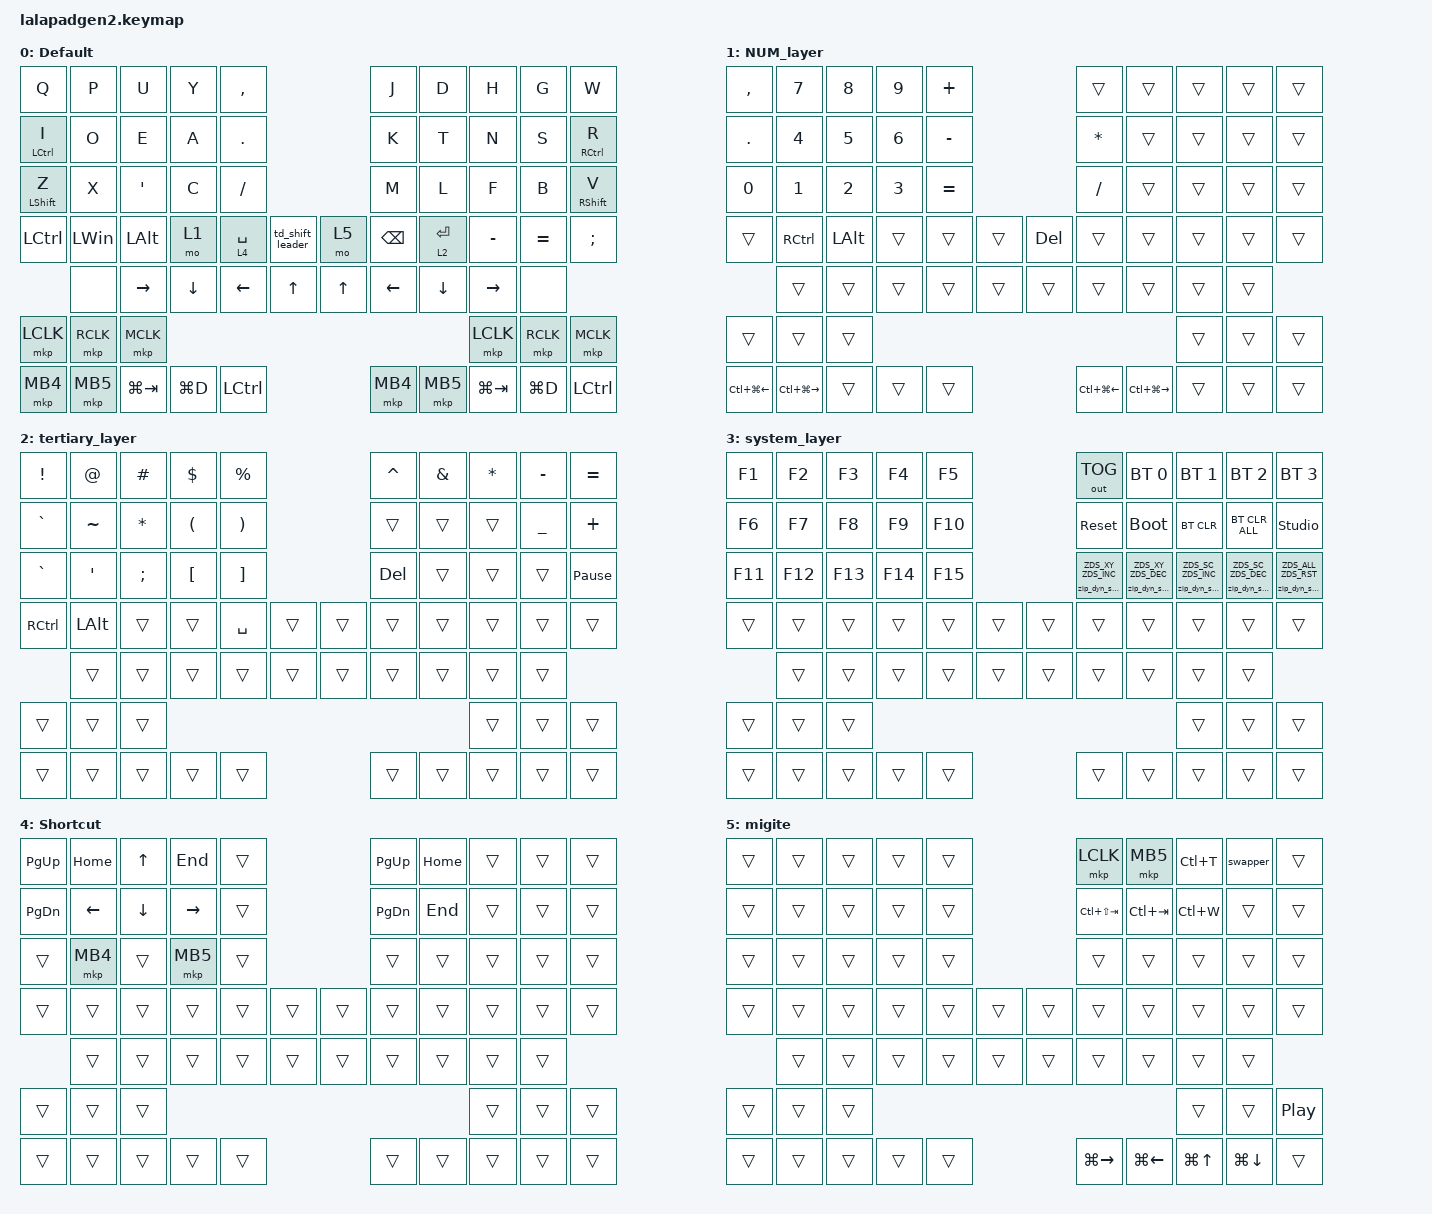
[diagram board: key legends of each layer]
#include <input/processors.dtsi>
#include <dt-bindings/zmk/zip_dynamic_scale.h>
#include <behaviors.dtsi>
#include <dt-bindings/zmk/bt.h>
#include <dt-bindings/zmk/keys.h>
#include <dt-bindings/zmk/outputs.h>
#include <dt-bindings/zmk/pointing.h>

#define DEFAULT_LAYER   0
#define SECONDARY_LAYER 1
#define TERTIARY_LAYER  2
#define SYSTEM_LAYER    3

&mt { quick-tap-ms = <200>; };

&lt { quick-tap-ms = <200>; };

/ {
    behaviors {
        zip_dyn_scale: zip_dyn_scale {
            compatible = "zmk,behavior-zip-dynamic-scale";
            #binding-cells = <2>;
        };

        zip_dyn_scale_set: zip_dyn_scale_set {
            compatible = "zmk,behavior-zip-dynamic-scale-set";
            #binding-cells = <2>;
        };

        mt2: mod_tap2 {
            compatible = "zmk,behavior-hold-tap";
            #binding-cells = <2>;
            flavor = "tap-preferred";
            tapping-term-ms = <200>;
            quick-tap-ms = <200>;
            require-prior-idle-ms = <125>;
            bindings = <&kp>, <&kp>;
        };

        tap_dance_layer_1and2: tap_dance_layer_1and2 {
            compatible = "zmk,behavior-tap-dance";
            label = "td_mo12";
            #binding-cells = <0>;
            bindings = <&mo 1>, <&mo 2>;
        };

        swapper: swapper {
            compatible = "zmk,behavior-smart-toggle";
            #binding-cells = <0>;
            bindings = <&kp LALT>, <&kp TAB>;

            ignored-key-positions = <7>, <8>;
        };

        al_num: auto_layer_num {
            compatible = "zmk,behavior-auto-layer";
            #binding-cells = <1>;
            continue-list = <
                COMMA N7 N8 N9  PLUS F7 F8 F9 F12
                PERIOD N4   N5   N6   MINUS  ASTERISK  F4  F5  F6  F11
                N0  N1   N2   N3   EQUAL  SLASH  F1  F2   F3   F10
                DEL  RCTRL   LEFT_ALT  SPACE  LSHIFT
            >;
        };

        leader1: leader1 {
            compatible = "zmk,behavior-leader-key";
            #binding-cells = <0>;

            num {
                sequence = <N U M>;
                bindings = <&al_num 1>;
            };

            gmail {
                sequence = <G M A I L>;
                bindings = <&mail1>;
            };
        };

        td_shift_leader: td_shift_leader {
            compatible = "zmk,behavior-tap-dance";
            #binding-cells = <0>;
            bindings = <&kp LSHIFT>, <&leader1>;

            tapping-term-ms = <200>;
        };
    };

    combos {
        compatible = "zmk,combos";

        CONBO_ESC {
            bindings = <&kp ESCAPE>;
            key-positions = <0 1>;
        };

        COMBO_TAB {
            bindings = <&kp TAB>;
            key-positions = <10 11>;
        };

        NN {
            bindings = <&NN>;
            key-positions = <17 7>;
        };

        ls+tab {
            bindings = <&kp LS(TAB)>;
            key-positions = <8 7>;
            layers = <5>;
        };

        copy {
            bindings = <&kp LC(C)>;
            key-positions = <13 23>;
        };

        paste {
            bindings = <&kp LC(V)>;
            key-positions = <14 24>;
        };

        lang1_abc {
            bindings = <&kp LANG1>;
            key-positions = <13 12>;
        };

        lang2_kana {
            bindings = <&kp LANG2>;
            key-positions = <17 16>;
        };

        ya {
            bindings = <&ya>;
            key-positions = <13 3>;
        };

        zi {
            bindings = <&zi>;
            key-positions = <20 10>;
        };
    };

    macros {
        NN: NN {
            compatible = "zmk,behavior-macro";
            #binding-cells = <0>;
            bindings = <&kp N &kp N>;
            label = "NN";
        };

        mail1: mail1 {
            compatible = "zmk,behavior-macro";
            #binding-cells = <0>;
            bindings = <&kp AT &kp G &kp M &kp A &kp I &kp L &kp DOT &kp C &kp O &kp M>;
            label = "mail1";
        };

        ya: ya {
            compatible = "zmk,behavior-macro";
            #binding-cells = <0>;
            bindings = <&kp Y &kp A>;
            label = "YA";
        };

        zi: zi {
            compatible = "zmk,behavior-macro";
            #binding-cells = <0>;
            bindings = <&kp Z &kp I>;
            label = "ZI";
        };
    };

    keymap {
        compatible = "zmk,keymap";

        DEFAULT_LAYER {
            display-name = "Default";
            bindings = <
&kp Q                &kp P      &kp U         &kp Y      &kp COMMA                              &kp J     &kp D        &kp H        &kp G      &kp W
&mt2 LEFT_CONTROL I  &kp O      &kp E         &kp A      &kp PERIOD                             &kp K     &kp T        &kp N        &kp S      &mt2 RIGHT_CONTROL R
&mt2 LEFT_SHIFT Z    &kp X      &kp SQT       &kp C      &kp SLASH                              &kp M     &kp L        &kp F        &kp B      &mt2 RSHIFT V
&kp LCTRL            &kp LWIN   &kp LEFT_ALT  &mo 1      &lt 4 SPACE  &td_shift_leader  &mo 5   &kp BSPC  &lt 2 ENTER  &kp MINUS    &kp EQUAL  &kp SEMI
                     &none      &kp RIGHT     &kp DOWN   &kp LEFT     &kp UP            &kp UP  &kp LEFT  &kp DOWN     &kp RIGHT    &none
&mkp LCLK            &mkp RCLK  &mkp MCLK                                                                              &mkp LCLK    &mkp RCLK  &mkp MCLK
&mkp MB4             &mkp MB5   &kp LG(TAB)   &kp LG(D)  &kp LCTRL                              &mkp MB4  &mkp MB5     &kp LG(TAB)  &kp LG(D)  &kp LCTRL
            >;
        };

        NUM_LAYER {
            display-name = "NUM_layer";
            bindings = <
&kp COMMA         &kp N7             &kp N8        &kp N9  &kp PLUS                    &trans            &trans             &trans  &trans  &trans
&kp PERIOD        &kp N4             &kp N5        &kp N6  &kp MINUS                   &kp ASTERISK      &trans             &trans  &trans  &trans
&kp N0            &kp N1             &kp N2        &kp N3  &kp EQUAL                   &kp SLASH         &trans             &trans  &trans  &trans
&trans            &kp RCTRL          &kp LEFT_ALT  &trans  &trans     &trans  &kp DEL  &trans            &trans             &trans  &trans  &trans
                  &trans             &trans        &trans  &trans     &trans  &trans   &trans            &trans             &trans  &trans
&trans            &trans             &trans                                                                                 &trans  &trans  &trans
&kp LC(LG(LEFT))  &kp LC(LG(RIGHT))  &trans        &trans  &trans                      &kp LC(LG(LEFT))  &kp LC(LG(RIGHT))  &trans  &trans  &trans
            >;
        };

        TERTIARY_LAYER {
            display-name = "tertiary_layer";
            bindings = <
&kp EXCLAMATION  &kp AT_SIGN   &kp HASH      &kp DOLLAR            &kp PERCENT                            &kp CARET   &kp AMPERSAND  &kp ASTERISK  &kp MINUS       &kp EQUAL
&kp GRAVE        &kp TILDE     &kp ASTERISK  &kp LEFT_PARENTHESIS  &kp RIGHT_PARENTHESIS                  &trans      &trans         &trans        &kp UNDERSCORE  &kp PLUS
&kp GRAVE        &kp SQT       &kp SEMI      &kp LEFT_BRACKET      &kp RIGHT_BRACKET                      &kp DELETE  &trans         &trans        &trans          &kp PAUSE_BREAK
&kp RCTRL        &kp LEFT_ALT  &trans        &trans                &kp SPACE              &trans  &trans  &trans      &trans         &trans        &trans          &trans
                 &trans        &trans        &trans                &trans                 &trans  &trans  &trans      &trans         &trans        &trans
&trans           &trans        &trans                                                                                                &trans        &trans          &trans
&trans           &trans        &trans        &trans                &trans                                 &trans      &trans         &trans        &trans          &trans
            >;
        };

        SYSTEM_LAYER {
            display-name = "system_layer";
            bindings = <
&kp F1   &kp F2   &kp F3   &kp F4   &kp F5                   &out OUT_TOG                   &bt BT_SEL 0                   &bt BT_SEL 1                   &bt BT_SEL 2                   &bt BT_SEL 3
&kp F6   &kp F7   &kp F8   &kp F9   &kp F10                  &sys_reset                     &bootloader                    &bt BT_CLR                     &bt BT_CLR_ALL                 &studio_unlock
&kp F11  &kp F12  &kp F13  &kp F14  &kp F15                  &zip_dyn_scale ZDS_XY ZDS_INC  &zip_dyn_scale ZDS_XY ZDS_DEC  &zip_dyn_scale ZDS_SC ZDS_INC  &zip_dyn_scale ZDS_SC ZDS_DEC  &zip_dyn_scale ZDS_ALL ZDS_RST
&trans   &trans   &trans   &trans   &trans   &trans  &trans  &trans                         &trans                         &trans                         &trans                         &trans
         &trans   &trans   &trans   &trans   &trans  &trans  &trans                         &trans                         &trans                         &trans
&trans   &trans   &trans                                                                                                   &trans                         &trans                         &trans
&trans   &trans   &trans   &trans   &trans                   &trans                         &trans                         &trans                         &trans                         &trans
            >;
        };

        Shortcut {
            bindings = <
&kp PG_UP  &kp HOME        &kp UP_ARROW    &kp END          &trans                  &kp PG_UP  &kp HOME  &trans  &trans  &trans
&kp PG_DN  &kp LEFT_ARROW  &kp DOWN_ARROW  &kp RIGHT_ARROW  &trans                  &kp PG_DN  &kp END   &trans  &trans  &trans
&trans     &mkp MB4        &trans          &mkp MB5         &trans                  &trans     &trans    &trans  &trans  &trans
&trans     &trans          &trans          &trans           &trans  &trans  &trans  &trans     &trans    &trans  &trans  &trans
           &trans          &trans          &trans           &trans  &trans  &trans  &trans     &trans    &trans  &trans
&trans     &trans          &trans                                                                        &trans  &trans  &trans
&trans     &trans          &trans          &trans           &trans                  &trans     &trans    &trans  &trans  &trans
            >;
        };

        migite {
            bindings = <
&trans  &trans  &trans  &trans  &trans                  &mkp LCLK            &mkp MB5            &kp LC(T)         &swapper            &trans
&trans  &trans  &trans  &trans  &trans                  &kp LC(LS(TAB))      &kp LC(TAB)         &kp LC(W)         &trans              &trans
&trans  &trans  &trans  &trans  &trans                  &trans               &trans              &trans            &trans              &trans
&trans  &trans  &trans  &trans  &trans  &trans  &trans  &trans               &trans              &trans            &trans              &trans
        &trans  &trans  &trans  &trans  &trans  &trans  &trans               &trans              &trans            &trans
&trans  &trans  &trans                                                                           &trans            &trans              &kp C_PP
&trans  &trans  &trans  &trans  &trans                  &kp LG(RIGHT_ARROW)  &kp LG(LEFT_ARROW)  &kp LG(UP_ARROW)  &kp LG(DOWN_ARROW)  &trans
            >;
        };
    };

    conditional_layers {
        compatible = "zmk,conditional-layers";

        Cond_Syslayer {
            if-layers = <1 2>;
            then-layer = <3>;
        };
    };
};
